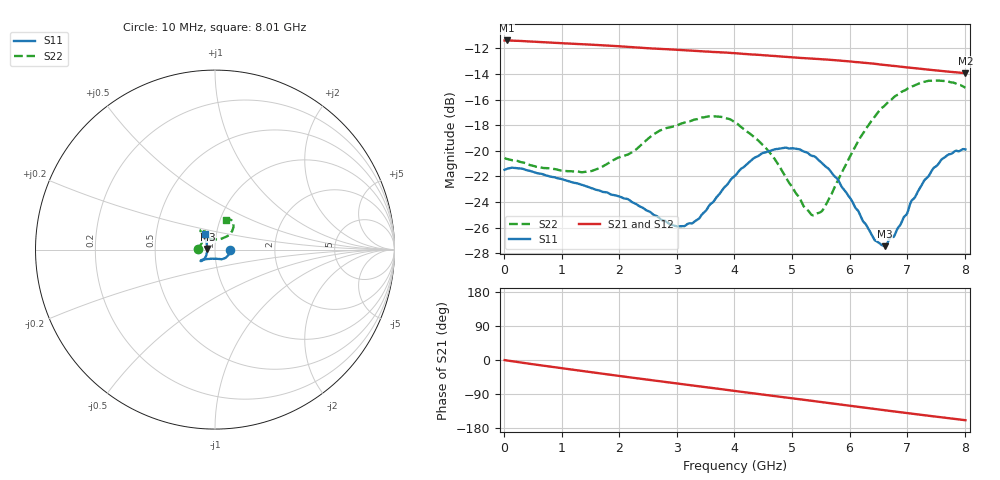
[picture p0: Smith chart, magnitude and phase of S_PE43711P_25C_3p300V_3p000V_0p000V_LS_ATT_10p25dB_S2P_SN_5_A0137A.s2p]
! Device ID: PE43711P
! File Path: z:\PE43711P\CHAR_NOM_04282014\AMB\3p300\LS_ATT_10p25dB\PE43711P_AMB_3p300V_3p000V_0p000V_LS_ATT_10p25dB_S2P_SN_5_A0137A.s2p
! Serial: 5
! Lot: A0137A
! Temp: 25C
! VDD: 3.300
! VSS: 0.000
! Control_Hi: 3.000
! Control_Lo: 0.000
! Attenuation Step: 10.25dB
! Port 1: RF1
! Port 2: RF2
! ThroughPath:1-2
! IDD: 0.0001274816
! ISS: -3.49e-008
#  Hz  S  RI  R  50
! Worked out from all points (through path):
!   801 points, 10 MHz to 8.01 GHz, reference 50 ohm
!   highest |S21| = -11.38 dB at 50 MHz (marker M1); lowest = -13.9 dB at 8.01 GHz (marker M2)
!   group delay of S21, straight-line fit = 54.8 ps
!   lowest |S11| = -27.4 dB at 6.61 GHz (marker M3), VSWR 1.09, Z = 45.9 + j0.27 ohm
!   |S11| at or under -10 dB: start of sweep to end of sweep
!   |S22| runs from -25.0 to -14.5 dB; largest |S21 - S12| = 0.00046
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1e7  0.0843 -0.000219  0.2696 -0.00132  0.2699 -0.00134  -0.0938 0.000767
5e7  0.085 -0.0018  0.2696 -0.00558  0.2699 -0.00554  -0.0929 0.00252
1.35e9  0.057 -0.0467  0.2286 -0.1257  0.2288 -0.1258  -0.0727 0.0389
2.18e9  0.0352 -0.0536  0.1777 -0.1821  0.1779 -0.1821  -0.0587 0.0778
2.68e9  0.0183 -0.0519  0.1417 -0.2062  0.1418 -0.2063  -0.0586 0.1038
2.99e9  0.00324 -0.0506  0.1179 -0.2183  0.118 -0.2184  -0.0616 0.1089
3.29e9  -0.0138 -0.0507  0.0938 -0.2269  0.0939 -0.2271  -0.0663 0.1142
3.69e9  -0.0401 -0.0523  0.0615 -0.2349  0.0614 -0.2349  -0.0763 0.1129
4.01e9  -0.059 -0.054  0.0346 -0.2379  0.0345 -0.2381  -0.0804 0.1012
4.34e9  -0.0739 -0.0576  0.00751 -0.2374  0.00745 -0.2376  -0.0719 0.0875
4.69e9  -0.0799 -0.062  -0.0206 -0.2336  -0.0207 -0.2336  -0.057 0.074
5.07e9  -0.0788 -0.0645  -0.0498 -0.2258  -0.0499 -0.2259  -0.029 0.0617
5.35e9  -0.0732 -0.0614  -0.0702 -0.218  -0.0702 -0.2183  -0.00323 0.056
5.55e9  -0.0666 -0.0577  -0.0843 -0.2113  -0.0843 -0.2114  0.0179 0.0567
6.17e9  -0.0484 -0.03  -0.1242 -0.1835  -0.1243 -0.1836  0.0765 0.0809
6.43e9  -0.0436 -0.0111  -0.1382 -0.1694  -0.1383 -0.1695  0.0928 0.099
6.61e9  -0.0423 0.00294  -0.1466 -0.1591  -0.1467 -0.1593  0.0988 0.1132
6.68e9  -0.0439 0.00979  -0.1497 -0.1552  -0.1498 -0.1553  0.1007 0.1189
7.05e9  -0.0474 0.04  -0.1642 -0.1327  -0.1641 -0.1328  0.102 0.1451
7.45e9  -0.0536 0.0662  -0.1762 -0.1077  -0.1764 -0.1078  0.0879 0.1661
7.7e9  -0.0568 0.0776  -0.1819 -0.092  -0.1819 -0.0918  0.0742 0.1716
8.01e9  -0.055 0.0849  -0.1875 -0.0725  -0.1877 -0.0721  0.0599 0.1659
